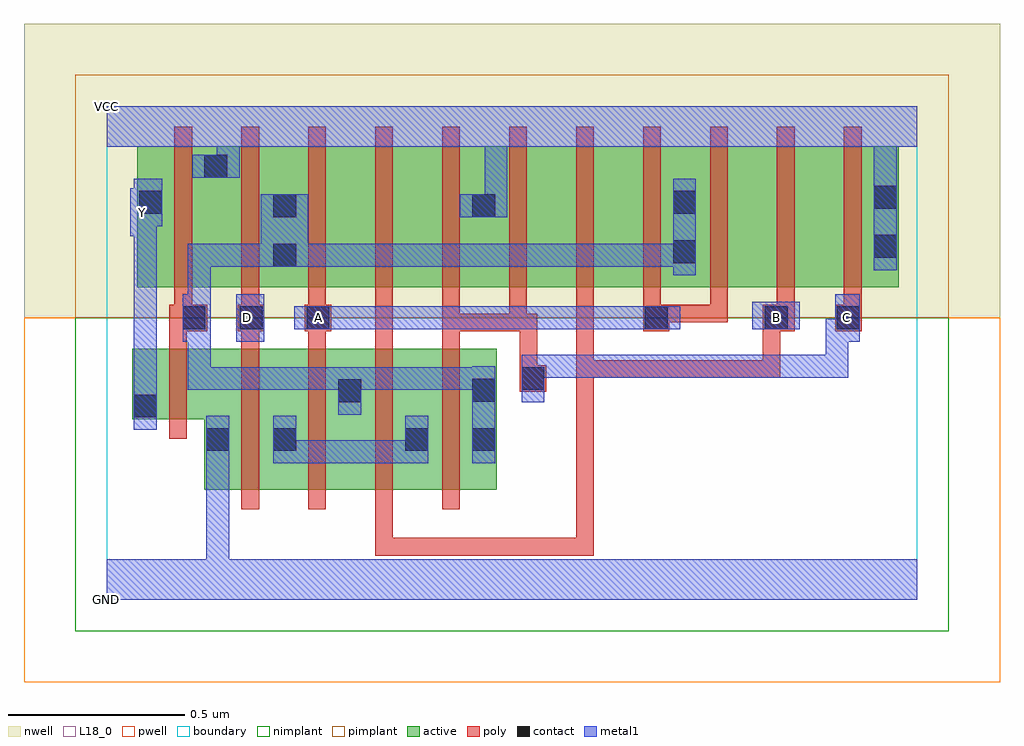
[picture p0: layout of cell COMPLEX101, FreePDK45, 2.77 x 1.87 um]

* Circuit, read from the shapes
.subckt COMPLEX101 A B C D GND VCC Y
M1 GND n1 Y VSUBS nfet w=0.2u l=0.05u
M2 n2 D GND VSUBS nfet w=0.4u l=0.05u
M3 n1 A n2 VSUBS nfet w=0.4u l=0.05u
M4 n2 B n1 VSUBS nfet w=0.4u l=0.05u
M5 n1 C n2 VSUBS nfet w=0.4u l=0.05u
M6 VCC n1 Y n3 pfet w=0.4u l=0.05u
M7 n1 D VCC n3 pfet w=0.4u l=0.05u
M8 n4 A n1 n3 pfet w=0.4u l=0.05u
M9 n5 B n4 n3 pfet w=0.4u l=0.05u
M10 VCC C n5 n3 pfet w=0.4u l=0.05u
M11 n6 C VCC n3 pfet w=0.4u l=0.05u
M12 n7 B n6 n3 pfet w=0.4u l=0.05u
M13 n1 A n7 n3 pfet w=0.4u l=0.05u
M14 n8 A n1 n3 pfet w=0.4u l=0.05u
M15 n9 B n8 n3 pfet w=0.4u l=0.05u
M16 VCC C n9 n3 pfet w=0.4u l=0.05u
.ends

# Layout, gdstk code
import gdstk
lib = gdstk.Library(unit=1e-6, precision=1e-09)
def R(c, l, rs):  # rectangles x0, y0, x1, y1
    for r in rs: c.add(gdstk.rectangle(r[:2], r[2:], *l))
def A(c, l, x, y, w, h, nx, ny, dx, dy):  # array of equal rectangles
    R(c, l, [(x+i*dx, y+j*dy, x+i*dx+w, y+j*dy+h) for i in range(nx) for j in range(ny)])
active = (1, 0)
pwell = (2, 0)
nwell = (3, 0)
nimplant = (4, 0)
pimplant = (5, 0)
poly = (9, 0)
contact = (10, 0)
metal1 = (11, 0)
L18_0 = (18, 0)
boundary = (235, 0)

complex101 = lib.new_cell('COMPLEX101')
A(complex101, active, 0.692, 0.887, 0.19, 0.4, 3, 1, 0.57, 0)
A(complex101, active, 0.882, 0.887, 0.225, 0.4, 3, 1, 0.57, 0)
R(complex101, active, [(0.277,0.312,0.542,0.712), (0.277,0.312,0.352,0.597), (0.467,0.312,0.727,0.712), (0.652,0.312,0.917,0.712), (0.842,0.312,1.107,0.712), (0.842,0.312,0.917,0.537), (0.652,0.33,0.727,0.712), (0.467,0.332,0.542,0.597), (1.032,0.345,1.107,0.712), (0.072,0.512,0.352,0.712), (0.072,0.512,0.147,0.712), (0.087,0.887,0.347,1.287), (0.087,0.887,0.162,1.2), (0.272,0.887,0.542,1.287), (0.467,0.887,0.692,1.287), (1.032,0.887,1.262,1.287), (1.602,0.887,1.832,1.287), (2.172,0.887,2.247,1.255), (0.272,0.907,0.347,1.287), (0.467,0.907,0.542,1.2), (1.032,0.907,1.107,1.255), (1.602,0.907,1.677,1.2)])
R(complex101, pwell, [(-0.235,-0.235,2.535,0.8)])
R(complex101, nwell, [(-0.235,0.8,2.535,1.635)])
R(complex101, nimplant, [(-0.09,-0.09,2.39,0.8)])
R(complex101, pimplant, [(-0.09,0.8,2.39,1.49)])
A(complex101, poly, 0.382, 0.257, 0.05, 0.51, 4, 1, 0.19, 0)
A(complex101, poly, 0.382, 0.717, 0.05, 0.095, 4, 1, 0.19, 0)
A(complex101, poly, 0.762, 0.762, 0.05, 0.12, 3, 1, 0.19, 0)
A(complex101, poly, 0.192, 0.787, 0.05, 0.095, 3, 1, 0.19, 0)
A(complex101, poly, 1.522, 0.787, 0.05, 0.095, 4, 1, 0.19, 0)
A(complex101, poly, 0.192, 0.832, 0.05, 0.51, 11, 1, 0.19, 0)
R(complex101, poly, [(0.762,0.125,0.812,0.175), (0.762,0.125,0.812,0.175), (0.762,0.125,0.812,0.175), (0.762,0.125,0.812,0.307), (0.762,0.125,1.002,0.175), (0.952,0.125,1.002,0.175), (0.952,0.125,1.002,0.175), (0.952,0.125,1.002,0.175), (0.952,0.125,1.135,0.175), (1.085,0.125,1.135,0.175), (1.085,0.125,1.135,0.175), (1.085,0.125,1.135,0.175), (1.085,0.125,1.135,0.175), (1.085,0.125,1.135,0.175), (1.085,0.125,1.382,0.175), (1.332,0.125,1.382,0.175), (1.332,0.125,1.382,0.68), (0.177,0.457,0.227,0.767), (1.172,0.59,1.247,0.665), (1.172,0.615,1.222,0.812), (1.332,0.63,1.382,0.68), (1.332,0.63,1.382,0.68), (1.332,0.63,1.382,0.68), (1.332,0.63,1.382,0.68), (1.332,0.63,1.382,0.68), (1.332,0.63,1.382,0.68), (1.332,0.63,1.382,0.68), (1.332,0.63,1.382,0.68), (1.332,0.63,1.382,0.68), (1.332,0.63,1.63,0.68), (1.332,0.63,1.382,0.882), (1.58,0.63,1.63,0.68), (1.58,0.63,1.63,0.68), (1.58,0.63,1.63,0.68), (1.58,0.63,1.762,0.68), (1.712,0.63,1.762,0.68), (1.712,0.63,1.912,0.68), (1.862,0.63,1.912,0.68), (1.862,0.63,1.912,0.68), (1.862,0.63,1.912,0.68), (1.862,0.63,1.912,0.812), (0.177,0.717,0.227,0.812), (0.177,0.762,0.285,0.837), (0.372,0.762,0.447,0.837), (0.562,0.762,0.637,0.837), (0.762,0.762,0.812,0.812), (0.952,0.762,1.002,0.812), (0.952,0.762,1.002,0.812), (0.952,0.762,1.002,0.812), (0.952,0.762,1.192,0.812), (1.142,0.762,1.212,0.812), (1.162,0.762,1.212,0.812), (1.162,0.762,1.222,0.812), (1.522,0.762,1.597,0.837), (1.862,0.762,1.912,0.812), (1.862,0.762,1.912,0.812), (1.862,0.762,1.952,0.837), (2.067,0.762,2.142,0.837), (1.547,0.787,1.762,0.837), (1.712,0.787,1.762,0.837), (1.712,0.787,1.762,0.837), (1.712,0.787,1.762,0.837)])
R(complex101, contact, [(0.282,0.422,0.347,0.487), (0.472,0.422,0.537,0.487), (0.847,0.422,0.912,0.487), (1.037,0.422,1.102,0.487), (0.077,0.517,0.142,0.582), (0.657,0.56,0.722,0.625), (1.037,0.562,1.102,0.627), (1.177,0.595,1.242,0.66), (0.215,0.767,0.28,0.832), (0.377,0.767,0.442,0.832), (0.567,0.767,0.632,0.832), (1.527,0.767,1.592,0.832), (1.867,0.767,1.932,0.832), (2.072,0.767,2.137,0.832), (0.472,0.945,0.537,1.01), (1.607,0.955,1.672,1.02), (2.177,0.97,2.242,1.035), (0.472,1.085,0.537,1.15), (1.037,1.085,1.102,1.15), (0.092,1.095,0.157,1.16), (1.607,1.095,1.672,1.16), (2.177,1.11,2.242,1.175), (0.277,1.197,0.342,1.262)])
R(complex101, metal1, [(0,0,2.3,0.115), (0.282,0.05,0.347,0.115), (0.282,0.05,0.347,0.115), (0.282,0.05,0.347,0.115), (0.282,0.05,0.347,0.115), (0.282,0.05,0.347,0.452), (0.282,0.387,0.347,0.522), (0.472,0.387,0.537,0.522), (0.472,0.387,0.722,0.452), (0.657,0.387,0.722,0.452), (0.657,0.387,0.722,0.452), (0.657,0.387,0.722,0.452), (0.657,0.387,0.86,0.452), (0.795,0.387,0.86,0.452), (0.795,0.387,0.912,0.452), (0.847,0.387,0.912,0.522), (1.037,0.387,1.102,0.662), (0.077,0.482,0.142,0.617), (0.657,0.525,0.722,0.66), (0.077,0.552,0.142,1.097), (1.177,0.56,1.242,0.695), (0.23,0.595,0.295,0.66), (0.23,0.595,0.46,0.66), (0.23,0.595,0.295,0.797), (0.395,0.595,0.46,0.66), (0.395,0.595,0.46,0.66), (0.395,0.595,0.46,0.66), (0.395,0.595,0.722,0.66), (0.657,0.595,0.722,0.66), (0.657,0.595,0.722,0.66), (0.657,0.595,0.86,0.66), (0.795,0.595,0.86,0.66), (0.795,0.595,0.86,0.66), (0.795,0.595,0.86,0.66), (0.795,0.595,1.102,0.66), (1.037,0.595,1.102,0.66), (1.037,0.595,1.102,0.66), (1.177,0.63,1.242,0.695), (1.177,0.63,1.242,0.695), (1.177,0.63,1.242,0.695), (1.177,0.63,1.242,0.695), (1.177,0.63,1.42,0.695), (1.355,0.63,1.42,0.695), (1.355,0.63,1.42,0.695), (1.355,0.63,1.42,0.695), (1.355,0.63,1.622,0.695), (1.557,0.63,1.622,0.695), (1.557,0.63,1.622,0.695), (1.557,0.63,1.622,0.695), (1.557,0.63,1.76,0.695), (1.695,0.63,1.76,0.695), (1.695,0.63,1.76,0.695), (1.695,0.63,1.76,0.695), (1.695,0.63,1.897,0.695), (1.832,0.63,1.897,0.695), (1.832,0.63,2.105,0.695), (2.04,0.63,2.105,0.797), (2.04,0.63,2.105,0.695), (0.215,0.732,0.28,0.867), (0.215,0.732,0.295,0.797), (0.23,0.732,0.295,0.797), (0.23,0.732,0.295,1.01), (0.367,0.732,0.447,0.867), (2.04,0.732,2.132,0.797), (2.04,0.732,2.105,0.797), (2.067,0.732,2.137,0.867), (0.532,0.767,0.667,0.832), (0.602,0.767,0.71,0.832), (0.645,0.767,0.71,0.832), (0.645,0.767,0.86,0.832), (0.795,0.767,0.86,0.832), (0.795,0.767,0.86,0.832), (0.795,0.767,0.86,0.832), (0.795,0.767,0.997,0.832), (0.932,0.767,0.997,0.832), (0.932,0.767,0.997,0.832), (0.932,0.767,0.997,0.832), (0.932,0.767,1.282,0.832), (1.217,0.767,1.282,0.832), (1.217,0.767,1.282,0.832), (1.217,0.767,1.282,0.832), (1.217,0.767,1.42,0.832), (1.355,0.767,1.42,0.832), (1.355,0.767,1.42,0.832), (1.355,0.767,1.42,0.832), (1.355,0.767,1.557,0.832), (1.492,0.767,1.627,0.832), (1.832,0.767,1.967,0.845), (1.607,0.92,1.672,1.195), (2.177,0.935,2.242,1.21), (0.23,0.945,0.295,1.01), (0.23,0.945,0.417,1.01), (0.352,0.945,0.417,1.01), (0.352,0.945,0.502,1.01), (0.437,0.945,0.572,1.15), (0.507,0.945,0.71,1.01), (0.645,0.945,0.71,1.01), (0.645,0.945,0.71,1.01), (0.645,0.945,0.71,1.01), (0.645,0.945,0.86,1.01), (0.795,0.945,0.86,1.01), (0.795,0.945,0.86,1.01), (0.795,0.945,0.86,1.01), (0.795,0.945,0.997,1.01), (0.932,0.945,0.997,1.01), (0.932,0.945,0.997,1.01), (0.932,0.945,0.997,1.01), (0.932,0.945,1.24,1.01), (1.175,0.945,1.24,1.01), (1.175,0.945,1.24,1.01), (1.175,0.945,1.24,1.01), (1.175,0.945,1.42,1.01), (1.355,0.945,1.42,1.01), (1.355,0.945,1.42,1.01), (1.355,0.945,1.42,1.01), (1.355,0.945,1.622,1.01), (1.557,0.945,1.622,1.01), (1.557,0.945,1.672,1.01), (0.067,1.032,0.142,1.167), (0.077,1.06,0.142,1.125), (0.077,1.06,0.157,1.195), (1.002,1.085,1.137,1.15), (1.072,1.085,1.137,1.35), (2.177,1.145,2.242,1.35), (0.242,1.197,0.377,1.262), (0.312,1.197,0.377,1.35), (0,1.285,2.3,1.4)])
R(complex101, L18_0, [(0,0,2.3,0.115), (0.282,0.05,0.347,0.115), (0.282,0.05,0.347,0.115), (0.282,0.05,0.347,0.115), (0.282,0.05,0.347,0.115), (0.282,0.05,0.347,0.452), (0.282,0.387,0.347,0.522), (0.077,0.482,0.142,0.617), (0.077,0.552,0.142,1.097), (1.177,0.56,1.242,0.695), (1.177,0.63,1.242,0.695), (1.177,0.63,1.242,0.695), (1.177,0.63,1.242,0.695), (1.177,0.63,1.242,0.695), (1.177,0.63,1.42,0.695), (1.355,0.63,1.42,0.695), (1.355,0.63,1.42,0.695), (1.355,0.63,1.42,0.695), (1.355,0.63,1.622,0.695), (1.557,0.63,1.622,0.695), (1.557,0.63,1.622,0.695), (1.557,0.63,1.622,0.695), (1.557,0.63,1.76,0.695), (1.695,0.63,1.76,0.695), (1.695,0.63,1.76,0.695), (1.695,0.63,1.76,0.695), (1.695,0.63,1.897,0.695), (1.832,0.63,1.897,0.695), (1.832,0.63,2.105,0.695), (2.04,0.63,2.105,0.695), (2.04,0.63,2.105,0.797), (0.367,0.732,0.447,0.867), (2.04,0.732,2.105,0.797), (2.04,0.732,2.132,0.797), (2.067,0.732,2.137,0.867), (0.367,0.767,0.432,0.832), (0.532,0.767,0.667,0.832), (0.567,0.767,0.632,0.832), (0.602,0.767,0.71,0.832), (0.645,0.767,0.71,0.832), (0.645,0.767,0.86,0.832), (0.795,0.767,0.86,0.832), (0.795,0.767,0.86,0.832), (0.795,0.767,0.86,0.832), (0.795,0.767,0.997,0.832), (0.932,0.767,0.997,0.832), (0.932,0.767,0.997,0.832), (0.932,0.767,0.997,0.832), (0.932,0.767,1.282,0.832), (1.217,0.767,1.282,0.832), (1.217,0.767,1.282,0.832), (1.217,0.767,1.282,0.832), (1.217,0.767,1.42,0.832), (1.355,0.767,1.42,0.832), (1.355,0.767,1.42,0.832), (1.355,0.767,1.42,0.832), (1.355,0.767,1.557,0.832), (1.492,0.767,1.627,0.832), (1.832,0.767,1.967,0.845), (1.867,0.767,1.932,0.832), (2.067,0.767,2.132,0.832), (2.177,0.935,2.242,1.21), (0.067,1.032,0.142,1.167), (0.077,1.06,0.157,1.195), (0.077,1.06,0.142,1.125), (0.067,1.067,0.132,1.132), (1.002,1.085,1.137,1.15), (1.072,1.085,1.137,1.35), (2.177,1.145,2.242,1.35), (0.242,1.197,0.377,1.262), (0.312,1.197,0.377,1.35), (0,1.285,2.3,1.4)])
R(complex101, boundary, [(0,0,2.3,1.4)])
complex101.add(gdstk.Label('A', (0.6,0.8), layer=11, texttype=0))
complex101.add(gdstk.Label('B', (1.9,0.8), layer=11, texttype=0))
complex101.add(gdstk.Label('C', (2.1,0.8), layer=11, texttype=0))
complex101.add(gdstk.Label('D', (0.4,0.8), layer=11, texttype=0))
complex101.add(gdstk.Label('Y', (0.1,1.1), layer=11, texttype=0))
complex101.add(gdstk.Label('VCC', (0,1.4), layer=11, texttype=0))
complex101.add(gdstk.Label('GND', (0,0), layer=11, texttype=0))

lib.write_gds('COMPLEX101.gds')
